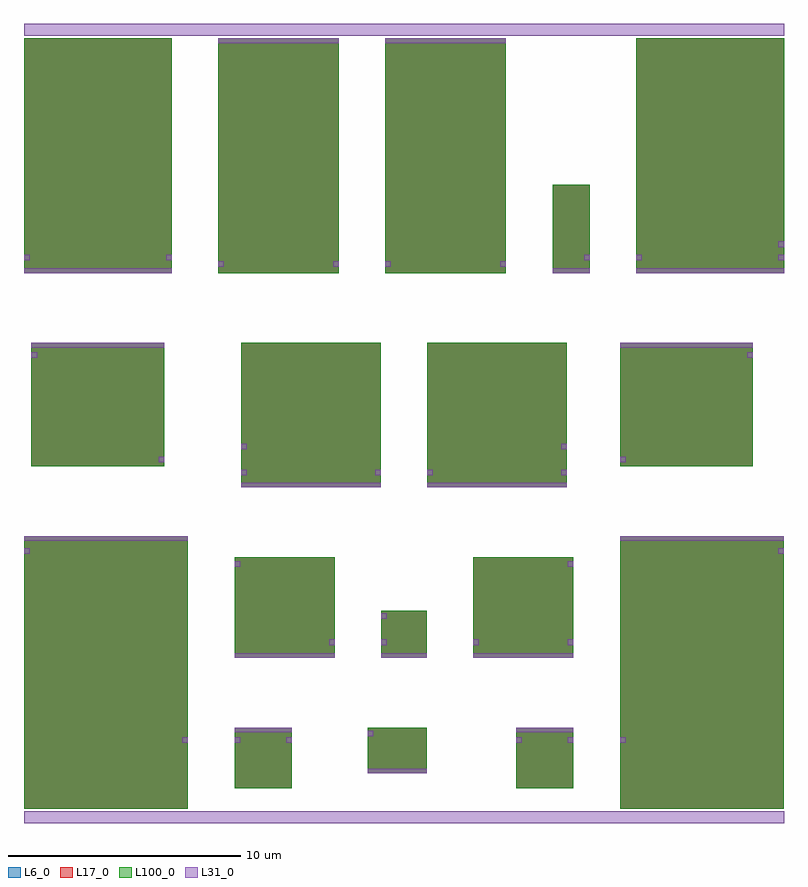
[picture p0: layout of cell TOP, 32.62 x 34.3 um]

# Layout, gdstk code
import gdstk
lib = gdstk.Library(unit=1e-6, precision=1e-09)
def R(c, l, rs):  # rectangles x0, y0, x1, y1
    for r in rs: c.add(gdstk.rectangle(r[:2], r[2:], *l))
L6_0 = (6, 0)
L17_0 = (17, 0)
L31_0 = (31, 0)
L100_0 = (100, 0)

top = lib.new_cell('TOP')
R(top, L6_0, [(0.01,0,7.035,11.685), (25.585,0,32.61,11.685), (9.035,0.865,11.495,3.465), (21.125,0.865,23.585,3.465), (14.745,1.515,17.28,3.465), (9.035,6.465,13.34,10.785), (15.34,6.465,17.28,8.48), (19.28,6.465,23.585,10.785), (9.315,13.785,15.31,19.985), (17.31,13.785,23.305,19.985), (0.32,14.685,6.015,19.985), (25.585,14.685,31.28,19.985), (0,22.985,6.335,33.055), (8.335,22.985,13.51,33.055), (15.51,22.985,20.685,33.055), (22.685,22.985,24.285,26.765), (26.285,22.985,32.62,33.055)])
R(top, L17_0, [(0.01,0,7.035,11.685), (25.585,0,32.61,11.685), (9.035,0.865,11.495,3.465), (21.125,0.865,23.585,3.465), (14.745,1.515,17.28,3.465), (9.035,6.465,13.34,10.785), (15.34,6.465,17.28,8.48), (19.28,6.465,23.585,10.785), (9.315,13.785,15.31,19.985), (17.31,13.785,23.305,19.985), (0.32,14.685,6.015,19.985), (25.585,14.685,31.28,19.985), (0,22.985,6.335,33.055), (8.335,22.985,13.51,33.055), (15.51,22.985,20.685,33.055), (22.685,22.985,24.285,26.765), (26.285,22.985,32.62,33.055)])
R(top, L31_0, [(0,-0.62,32.62,-0.12), (14.745,1.515,17.28,1.715), (14.745,1.515,17.28,1.715), (14.745,1.515,17.28,1.715), (6.795,2.82,7.035,3.06), (9.035,2.82,9.275,3.06), (11.255,2.82,11.495,3.06), (21.125,2.82,21.365,3.06), (23.345,2.82,23.585,3.06), (25.585,2.82,25.825,3.06), (14.745,3.1,14.985,3.34), (9.035,3.265,11.495,3.465), (9.035,3.265,11.495,3.465), (21.125,3.265,23.585,3.465), (21.125,3.265,23.585,3.465), (9.035,6.465,13.34,6.665), (9.035,6.465,13.34,6.665), (15.34,6.465,17.28,6.665), (15.34,6.465,17.28,6.665), (19.28,6.465,23.585,6.665), (13.1,7.02,13.34,7.26), (15.34,7.02,15.58,7.26), (19.28,7.02,19.52,7.26), (23.345,7.02,23.585,7.26), (15.34,8.14,15.58,8.38), (9.035,10.38,9.275,10.62), (23.345,10.38,23.585,10.62), (0.01,10.94,0.25,11.18), (32.37,10.94,32.61,11.18), (0.01,11.485,7.035,11.685), (0.01,11.485,7.035,11.685), (25.585,11.485,32.61,11.685), (25.585,11.485,32.61,11.685), (9.315,13.785,15.31,13.985), (17.31,13.785,23.305,13.985), (9.315,14.3,9.555,14.54), (15.07,14.3,15.31,14.54), (17.31,14.3,17.55,14.54), (23.065,14.3,23.305,14.54), (5.775,14.86,6.015,15.1), (25.585,14.86,25.825,15.1), (9.315,15.42,9.555,15.66), (23.065,15.42,23.305,15.66), (0.32,19.34,0.56,19.58), (31.04,19.34,31.28,19.58), (0.32,19.785,6.015,19.985), (0.32,19.785,6.015,19.985), (25.585,19.785,31.28,19.985), (25.585,19.785,31.28,19.985), (0,22.985,6.335,23.185), (0,22.985,6.335,23.185), (22.685,22.985,24.285,23.185), (22.685,22.985,24.285,23.185), (22.685,22.985,24.285,23.185), (26.285,22.985,32.62,23.185), (8.335,23.26,8.575,23.5), (13.27,23.26,13.51,23.5), (15.51,23.26,15.75,23.5), (20.445,23.26,20.685,23.5), (0,23.54,0.24,23.78), (6.095,23.54,6.335,23.78), (24.045,23.54,24.285,23.78), (26.285,23.54,26.525,23.78), (32.38,23.54,32.62,23.78), (32.38,24.1,32.62,24.34), (8.335,32.855,13.51,33.055), (8.335,32.855,13.51,33.055), (15.51,32.855,20.685,33.055), (15.51,32.855,20.685,33.055), (0,33.175,32.62,33.675)])
R(top, L100_0, [(0.01,0,7.035,11.685), (25.585,0,32.61,11.685), (9.035,0.865,11.495,3.465), (21.125,0.865,23.585,3.465), (14.745,1.515,17.28,3.465), (9.035,6.465,13.34,10.785), (15.34,6.465,17.28,8.48), (19.28,6.465,23.585,10.785), (9.315,13.785,15.31,19.985), (17.31,13.785,23.305,19.985), (0.32,14.685,6.015,19.985), (25.585,14.685,31.28,19.985), (0,22.985,6.335,33.055), (8.335,22.985,13.51,33.055), (15.51,22.985,20.685,33.055), (22.685,22.985,24.285,26.765), (26.285,22.985,32.62,33.055)])

lib.write_gds('TOP.gds')
